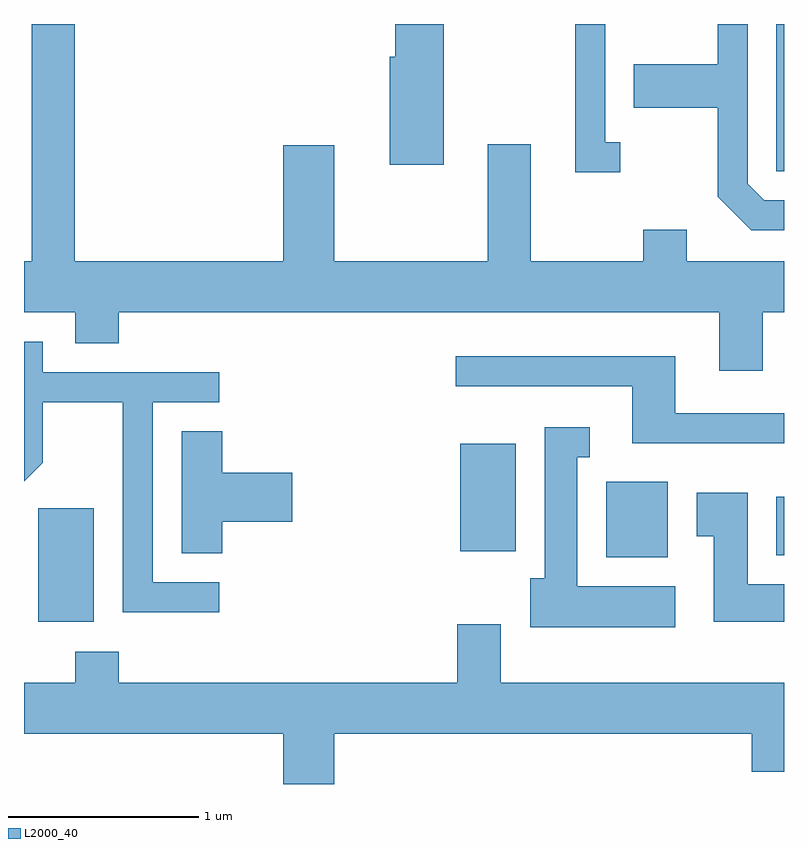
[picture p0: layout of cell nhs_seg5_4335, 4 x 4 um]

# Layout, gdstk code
import gdstk
lib = gdstk.Library(unit=1e-6, precision=1e-09)
def R(c, l, rs):  # rectangles x0, y0, x1, y1
    for r in rs: c.add(gdstk.rectangle(r[:2], r[2:], *l))
def P(c, l, *ps):  # polygons
    for p in ps: c.add(gdstk.Polygon(p, *l))
L2000_40 = (2000, 40)

nhs_seg5_4335 = lib.new_cell('nhs_seg5_4335')
R(nhs_seg5_4335, L2000_40, [(313.686,1472.926,313.979,1473.524), (316.676,1473.266,316.999,1473.664), (317.571,1473.276,317.611,1473.584), (315.906,1473.296,316.199,1473.864), (317.571,1475.296,317.611,1476.072)])
P(nhs_seg5_4335, L2000_40, [(317.499,1474.556),(317.611,1474.556),(317.611,1474.824),(317.099,1474.824),(317.099,1474.989),(316.871,1474.989),(316.871,1474.824),(316.279,1474.824),(316.279,1475.439),(316.051,1475.439),(316.051,1474.824),(315.244,1474.824),(315.244,1475.434),(314.976,1475.434),(314.976,1474.824),(313.879,1474.824),(313.879,1476.072),(313.651,1476.072),(313.651,1474.824),(313.611,1474.824),(313.611,1474.556),(313.881,1474.556),(313.881,1474.391),(314.109,1474.391),(314.109,1474.556),(317.271,1474.556),(317.271,1474.246),(317.499,1474.246)],
  [(315.819,1476.072),(315.566,1476.072),(315.566,1475.899),(315.536,1475.899),(315.536,1475.331),(315.819,1475.331)],
  [(317.611,1475.144),(317.507,1475.144),(317.419,1475.232),(317.419,1476.072),(317.261,1476.072),(317.261,1475.859),(316.821,1475.859),(316.821,1475.631),(317.261,1475.631),(317.261,1475.164),(317.439,1474.986),(317.611,1474.986)],
  [(316.748,1475.449),(316.669,1475.449),(316.669,1476.072),(316.511,1476.072),(316.511,1475.291),(316.748,1475.291)],
  [(314.638,1473.134),(314.289,1473.134),(314.289,1474.081),(314.638,1474.081),(314.638,1474.239),(313.709,1474.239),(313.709,1474.399),(313.611,1474.399),(313.611,1473.666),(313.709,1473.764),(313.709,1474.081),(314.131,1474.081),(314.131,1472.976),(314.638,1472.976)],
  [(317.611,1474.024),(317.039,1474.024),(317.039,1474.324),(315.883,1474.324),(315.883,1474.166),(316.811,1474.166),(316.811,1473.866),(317.611,1473.866)],
  [(317.039,1473.114),(316.524,1473.114),(316.524,1473.791),(316.588,1473.791),(316.588,1473.949),(316.351,1473.949),(316.351,1473.154),(316.276,1473.154),(316.276,1472.896),(317.039,1472.896)],
  [(314.654,1473.451),(315.024,1473.451),(315.024,1473.709),(314.654,1473.709),(314.654,1473.929),(314.441,1473.929),(314.441,1473.286),(314.654,1473.286)],
  [(317.611,1473.124),(317.419,1473.124),(317.419,1473.604),(317.151,1473.604),(317.151,1473.376),(317.241,1473.376),(317.241,1472.926),(317.611,1472.926)],
  [(315.244,1472.336),(317.441,1472.336),(317.441,1472.136),(317.611,1472.136),(317.611,1472.604),(316.119,1472.604),(316.119,1472.914),(315.891,1472.914),(315.891,1472.604),(314.109,1472.604),(314.109,1472.769),(313.881,1472.769),(313.881,1472.604),(313.611,1472.604),(313.611,1472.336),(314.976,1472.336),(314.976,1472.072),(315.244,1472.072)])

lib.write_gds('nhs_seg5_4335.gds')
